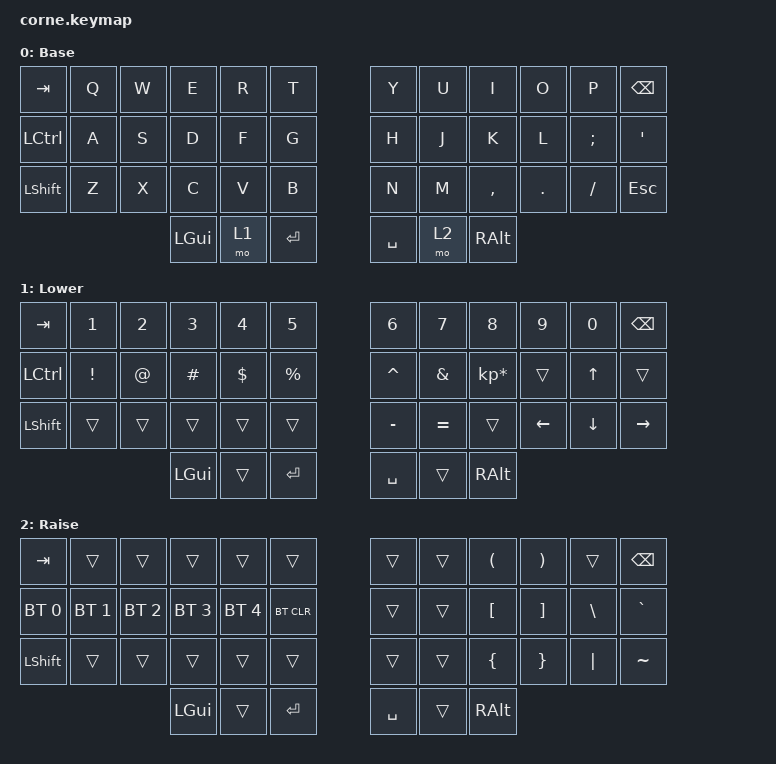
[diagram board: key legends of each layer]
/*
 * Copyright (c) 2020 The ZMK Contributors
 *
 * SPDX-License-Identifier: MIT
 */

#include <behaviors.dtsi>
#include <dt-bindings/zmk/bt.h>
#include <dt-bindings/zmk/keys.h>

/ {
    keymap {
        compatible = "zmk,keymap";

        default_layer {
            // -----------------------------------------------------------------------------------------
            // |  TAB |  Q  |  W  |  E  |  R  |  T  |   |  Y  |  U   |  I  |  O  |  P  | BKSP |
            // | CTRL |  A  |  S  |  D  |  F  |  G  |   |  H  |  J   |  K  |  L  |  ;  |  '   |
            // | SHFT |  Z  |  X  |  C  |  V  |  B  |   |  N  |  M   |  ,  |  .  |  /  | ESC  |
            //                    | GUI | LWR | SPC |   | ENT | RSE  | ALT |

            display-name = "Base";
            bindings = <
&kp TAB    &kp Q  &kp W  &kp E     &kp R  &kp T      &kp Y      &kp U  &kp I      &kp O    &kp P     &kp BSPC
&kp LCTRL  &kp A  &kp S  &kp D     &kp F  &kp G      &kp H      &kp J  &kp K      &kp L    &kp SEMI  &kp SQT
&kp LSHFT  &kp Z  &kp X  &kp C     &kp V  &kp B      &kp N      &kp M  &kp COMMA  &kp DOT  &kp FSLH  &kp ESC
                         &kp LGUI  &mo 1  &kp RET    &kp SPACE  &mo 2  &kp RALT
            >;
        };

        lower_layer {
            // -----------------------------------------------------------------------------------------
            // |  TAB |  1  |  2  |  3  |  4  |  5  |   |  6  |  7  |  8  |  9  |  0  | BKSP |
            // | BTCLR| BT1 | BT2 | BT3 | BT4 | BT5 |   | LFT | DWN |  UP | RGT |     |      |
            // | SHFT |     |     |     |     |     |   |     |     |     |     |     |      |
            //                    | GUI |     | SPC |   | ENT |     | ALT |

            display-name = "Lower";
            bindings = <
&kp TAB    &kp N1    &kp N2  &kp N3    &kp N4    &kp N5        &kp N6     &kp N7     &kp N8           &kp N9    &kp N0    &kp BSPC
&kp LCTRL  &kp EXCL  &kp AT  &kp HASH  &kp DLLR  &kp PRCNT     &kp CARET  &kp AMPS   &kp KP_MULTIPLY  &trans    &kp UP    &trans
&kp LSHFT  &trans    &trans  &trans    &trans    &trans        &kp MINUS  &kp EQUAL  &trans           &kp LEFT  &kp DOWN  &kp RIGHT
                             &kp LGUI  &trans    &kp RETURN    &kp SPACE  &trans     &kp RALT
            >;
        };

        raise_layer {
            // -----------------------------------------------------------------------------------------
            // |  TAB |  !  |  @  |  #  |  $  |  %  |   |  ^  |  &  |  *  |  (  |  )  | BKSP |
            // | CTRL |     |     |     |     |     |   |  -  |  =  |  [  |  ]  |  \  |  `   |
            // | SHFT |     |     |     |     |     |   |  _  |  +  |  {  |  }  | "|" |  ~   |
            //                    | GUI |     | SPC |   | ENT |     | ALT |

            display-name = "Raise";
            bindings = <
&kp TAB       &trans        &trans        &trans        &trans        &trans        &trans     &trans  &kp LPAR  &kp RPAR  &trans    &kp BSPC
&bt BT_SEL 0  &bt BT_SEL 1  &bt BT_SEL 2  &bt BT_SEL 3  &bt BT_SEL 4  &bt BT_CLR    &trans     &trans  &kp LBKT  &kp RBKT  &kp BSLH  &kp GRAVE
&kp LSHFT     &trans        &trans        &trans        &trans        &trans        &trans     &trans  &kp LBRC  &kp RBRC  &kp PIPE  &kp TILDE
                                          &kp LGUI      &trans        &kp RET       &kp SPACE  &trans  &kp RALT
            >;
        };
    };
};
